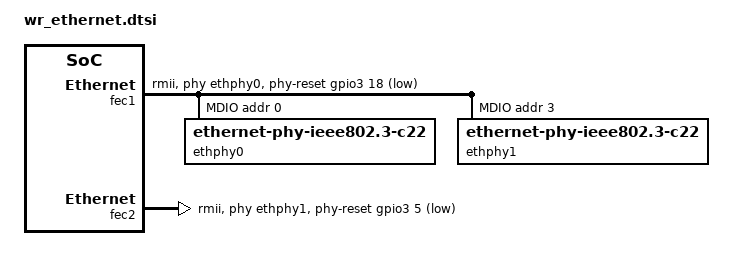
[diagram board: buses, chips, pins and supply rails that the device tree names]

&fec1 {
	pinctrl-names = "default";
	pinctrl-0 = <&pinctrl_enet1>;
	phy-mode = "rmii";
	phy-handle = <&ethphy0>;
	phy-reset-gpios = <&gpio3 18 GPIO_ACTIVE_LOW>;
	phy-reset-duration = <10>;
	phy-reset-post-delay = <50>;
	status = "okay";
	mdio {
		#address-cells = <1>;
		#size-cells = <0>;

		ethphy0: ethernet-phy@0 {
			compatible = "ethernet-phy-ieee802.3-c22";
			reg = <0>;
			clocks = <&clks IMX6UL_CLK_ENET_REF>;
			clock-names = "rmii-ref";
		};
		ethphy1: ethernet-phy@3 {
			compatible = "ethernet-phy-ieee802.3-c22";
			reg = <3>;
			clocks = <&clks IMX6UL_CLK_ENET2_REF>;
			clock-names = "rmii-ref";
		};
	};
};

&fec2 {
	pinctrl-names = "default";
	pinctrl-0 = <&pinctrl_enet2>;
	phy-mode = "rmii";
	phy-handle = <&ethphy1>;
	phy-reset-gpios = <&gpio3 5 GPIO_ACTIVE_LOW>;
	phy-reset-duration = <10>;
	phy-reset-post-delay = <50>;
	status = "okay";
};
